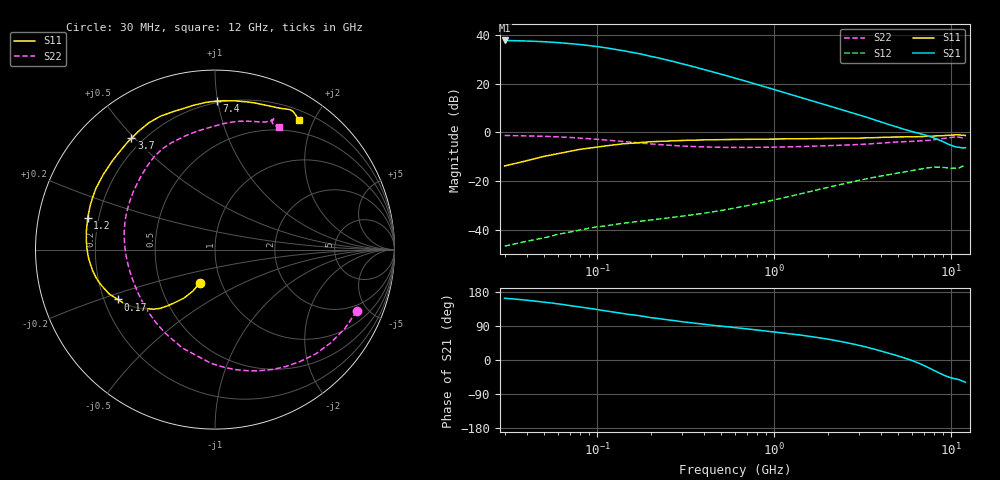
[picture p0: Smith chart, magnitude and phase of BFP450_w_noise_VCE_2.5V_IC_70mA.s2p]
! Infineon Technologies  Discrete & RF Semiconductors
! BFP450
! VCE =  2.5 V,  IC =  70 mA
! Common Emitter S-Parameters:  Nov 2015
# GHz  S  MA  R  50
!  f  S11  S21  S12  S22
! GHz  MAG  ANG  MAG  ANG  MAG  ANG  MAG  ANG
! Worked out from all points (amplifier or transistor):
!   239 points, 30 MHz to 12 GHz, reference 50 ohm
!   highest |S21| = 37.7 dB at 30 MHz (marker M1)
!   |S21| within 3 dB of that: start of sweep to 111.4 MHz
!   unconditionally stable (mu >= 1): 1.023 GHz to end of sweep
!   at 300 MHz: K = 0.63, MSG = 31.3 dB, |S12| = -34.5 dB
!   at 1.88 GHz: K = 1.09, MAG = 15.5 dB, |S12| = -23.1 dB
!   at 12 GHz: K = 1.09, MAG = 1.8 dB, |S12| = -13.5 dB
!   lowest NFmin = 1.81 dB at 450 MHz
!   S11 on the Smith chart (normalised r, x): 30 MHz: 0.79, -0.31; 170 MHz: 0.26, -0.23; 1.2 GHz: 0.16, +0.12; 3.7 GHz: 0.16, +0.49; 7.4 GHz: 0.19, +1.00; 12 GHz: 0.32, +1.79
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0.03  0.2036 -114.5  76.58 163.0  0.0046 80.0  0.8604 -23.5
0.04  0.2609 -118.0  74.56 157.8  0.0058 75.5  0.8465 -31.3
0.05  0.3197 -122.5  72.16 152.6  0.0068 71.5  0.8278 -38.9
0.06  0.3648 -126.7  69.16 148.3  0.0081 68.2  0.8076 -46.0
0.07  0.4051 -129.8  66.11 143.6  0.009 64.8  0.7835 -52.7
0.085  0.4603 -134.3  61.61 138.2  0.0103 61.9  0.7494 -61.8
0.1  0.5007 -138.8  57.26 133.1  0.0115 58.9  0.7176 -70.2
0.12  0.5428 -143.6  51.94 127.4  0.0125 56.2  0.6794 -80.0
0.15  0.5913 -149.8  45.12 120.4  0.014 53.2  0.6322 -92.3
0.17  0.6093 -152.9  41.46 117.4  0.0147 52.3  0.6049 -98.3
0.2  0.6394 -157.3  36.25 111.8  0.0158 51.1  0.5778 -108.2
0.24  0.6592 -161.7  31.33 107.2  0.0171 50.7  0.549 -117.5
0.3  0.681 -166.7  25.54 101.1  0.0189 51.0  0.5228 -129.1
0.36  0.692 -170.4  21.55 96.9  0.0206 51.9  0.5075 -137.6
0.6  0.7135 179.7  12.89 85.3  0.0279 55.4  0.489 -158.2
0.8  0.7207 174.4  9.523 79.0  0.0344 56.9  0.4905 -168.0
1.2  0.7311 166.1  6.158 69.8  0.0476 56.8  0.502 178.9
1.64  0.7396 158.2  4.4 61.5  0.0622 54.1  0.5163 168.4
3.7  0.7752 126.9  1.794 28.2  0.12 31.8  0.5861 133.1
4.5  0.7969 117.5  1.419 16.9  0.1362 23.6  0.6181 123.4
7.4  0.8279 89.2  0.841 -20.0  0.187 -6.8  0.679 93.3
12  0.8596 57.2  0.482 -58.8  0.2113 -41.0  0.7691 62.3
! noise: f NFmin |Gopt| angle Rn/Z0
0.45  1.81  0.59  -172  0.06
0.9  1.85  0.61  -167  0.07
1.9  1.95  0.64  -151  0.13
2.4  2.04  0.64  -142  0.18
